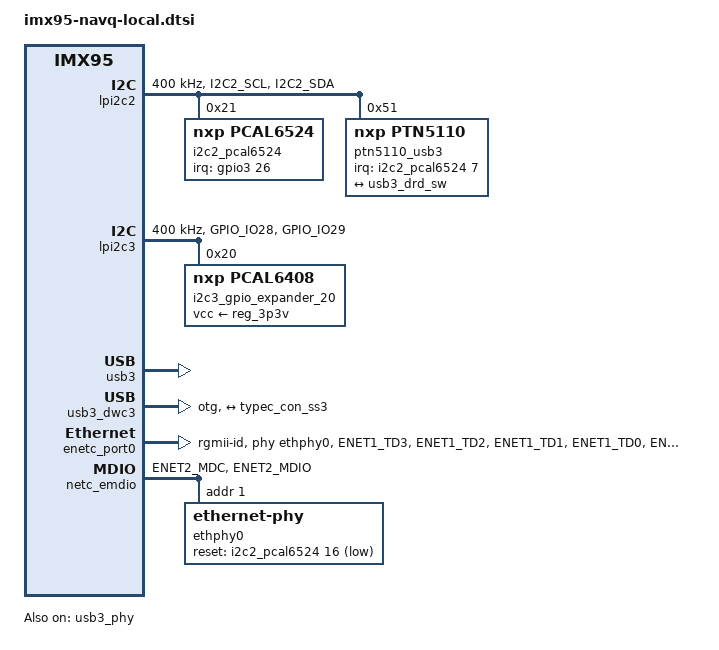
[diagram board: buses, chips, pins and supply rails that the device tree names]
// SPDX-License-Identifier: GPL-2.0+
/*
 * Copyright 2025 NXP
 */

#include <dt-bindings/usb/pd.h>

/ {
	aliases {
		ethernet0 = &enetc_port0;
		spi0 = &flexspi1;
	};

	chosen {
		bootargs = "console=ttyLP0,115200 earlycon";
	};
};

&lpi2c2 {
	#address-cells = <1>;
	#size-cells = <0>;
	clock-frequency = <400000>;
	pinctrl-names = "default", "sleep";
	pinctrl-0 = <&pinctrl_lpi2c2>;
	pinctrl-1 = <&pinctrl_lpi2c2>;
	status = "okay";

	i2c2_pcal6524: i2c2-gpio@21 {
		compatible = "nxp,pcal6524";
		reg = <0x21>;
		gpio-controller;
		#gpio-cells = <2>;
		pinctrl-names = "default";
		pinctrl-0 = <&pinctrl_i2c2_ioexp21>;
		interrupt-controller;
		#interrupt-cells = <2>;
		interrupt-parent = <&gpio3>;
		interrupts = <26 IRQ_TYPE_EDGE_FALLING>;
	};

	ptn5110_usb3: tcpc@51 {
		compatible = "nxp,ptn5110";
		reg = <0x51>;
		interrupt-parent = <&i2c2_pcal6524>;
		interrupts = <7 IRQ_TYPE_LEVEL_LOW>;

		port {
			typec_con_ss3: endpoint {
				remote-endpoint = <&usb3_drd_sw>;
			};
		};

		typec_con3: connector {
			compatible = "usb-c-connector";
			label = "USB-C";
			power-role = "dual";
			data-role = "dual";
			try-power-role = "sink";
			source-pdos = <PDO_FIXED(5000, 3000, PDO_FIXED_USB_COMM)>;
			sink-pdos = <PDO_FIXED(5000, 3000, PDO_FIXED_USB_COMM)
				     PDO_VAR(5000, 20000, 3000)>;
			op-sink-microwatt = <15000000>;
			self-powered;
		};
	};
};

&lpi2c3 {
	#address-cells = <1>;
	#size-cells = <0>;
	clock-frequency = <400000>;
	pinctrl-names = "default", "sleep";
	pinctrl-0 = <&pinctrl_lpi2c3>;
	pinctrl-1 = <&pinctrl_lpi2c3>;
	status = "okay";

	i2c3_gpio_expander_20: i2c3-gpio-expander@20 {
		compatible = "nxp,pcal6408";
		#gpio-cells = <2>;
		gpio-controller;
		reg = <0x20>;
		vcc-supply = <&reg_3p3v>;
	};
};

&usb3 {
	status = "okay";
};

&usb3_phy {
	status = "okay";
};

&usb3_dwc3 {
	dr_mode = "otg";
	hnp-disable;
	srp-disable;
	adp-disable;
	usb-role-switch;
	role-switch-default-mode = "none";
	snps,dis-u1-entry-quirk;
	snps,dis-u2-entry-quirk;
	status = "okay";

	port {
		usb3_drd_sw: endpoint {
			remote-endpoint = <&typec_con_ss3>;
		};
	};
};

&enetc_port0 {
	pinctrl-names = "default";
	pinctrl-0 = <&pinctrl_enetc0>;
	phy-handle = <&ethphy0>;
	phy-mode = "rgmii-id";
	status = "okay";
};

&netc_emdio {
	pinctrl-names = "default";
	pinctrl-0 = <&pinctrl_emdio>;
	status = "okay";

	ethphy0: ethernet-phy@1 {
		reg = <1>;
		eee-broken-1000t;
		reset-gpios = <&i2c2_pcal6524 16 GPIO_ACTIVE_LOW>;
		reset-assert-us = <10000>;
		reset-deassert-us = <80000>;
	};
};

&scmi_iomuxc {
	pinctrl_lpi2c2: lpi2c2grp {
		fsl,pins = <
			IMX95_PAD_I2C2_SCL__AONMIX_TOP_LPI2C2_SCL	0x40000b9e
			IMX95_PAD_I2C2_SDA__AONMIX_TOP_LPI2C2_SDA	0x40000b9e
		>;
	};

	pinctrl_lpi2c3: lpi2c3grp {
		fsl,pins = <
			IMX95_PAD_GPIO_IO28__LPI2C3_SDA			0x40000b9e
			IMX95_PAD_GPIO_IO29__LPI2C3_SCL			0x40000b9e
		>;
	};
	
	pinctrl_i2c2_ioexp21: i2c2ioexp21 {
		fsl,pins = <
			IMX95_PAD_CCM_CLKO1__GPIO3_IO_BIT26			0x31e
		>;
	};

	pinctrl_emdio: emdiogrp{
		fsl,pins = <
			IMX95_PAD_ENET2_MDC__NETCMIX_TOP_NETC_MDC		0x57e
			IMX95_PAD_ENET2_MDIO__NETCMIX_TOP_NETC_MDIO		0x97e
		>;
	};

	pinctrl_enetc0: enetc0grp {
		fsl,pins = <
			IMX95_PAD_ENET1_TD3__NETCMIX_TOP_ETH0_RGMII_TD3		0x57e
			IMX95_PAD_ENET1_TD2__NETCMIX_TOP_ETH0_RGMII_TD2		0x57e
			IMX95_PAD_ENET1_TD1__NETCMIX_TOP_ETH0_RGMII_TD1		0x57e
			IMX95_PAD_ENET1_TD0__NETCMIX_TOP_ETH0_RGMII_TD0		0x57e
			IMX95_PAD_ENET1_TX_CTL__NETCMIX_TOP_ETH0_RGMII_TX_CTL	0x57e
			IMX95_PAD_ENET1_TXC__NETCMIX_TOP_ETH0_RGMII_TX_CLK	0x5fe
			IMX95_PAD_ENET1_RX_CTL__NETCMIX_TOP_ETH0_RGMII_RX_CTL	0x57e
			IMX95_PAD_ENET1_RXC__NETCMIX_TOP_ETH0_RGMII_RX_CLK	0x5fe
			IMX95_PAD_ENET1_RD0__NETCMIX_TOP_ETH0_RGMII_RD0		0x57e
			IMX95_PAD_ENET1_RD1__NETCMIX_TOP_ETH0_RGMII_RD1		0x57e
			IMX95_PAD_ENET1_RD2__NETCMIX_TOP_ETH0_RGMII_RD2		0x57e
			IMX95_PAD_ENET1_RD3__NETCMIX_TOP_ETH0_RGMII_RD3		0x57e
		>;
	};

	pinctrl_enetc1: enetc1grp {
		fsl,pins = <
			IMX95_PAD_ENET2_TD3__NETCMIX_TOP_ETH1_RGMII_TD3		0x57e
			IMX95_PAD_ENET2_TD2__NETCMIX_TOP_ETH1_RGMII_TD2		0x57e
			IMX95_PAD_ENET2_TD1__NETCMIX_TOP_ETH1_RGMII_TD1		0x57e
			IMX95_PAD_ENET2_TD0__NETCMIX_TOP_ETH1_RGMII_TD0		0x57e
			IMX95_PAD_ENET2_TX_CTL__NETCMIX_TOP_ETH1_RGMII_TX_CTL	0x57e
			IMX95_PAD_ENET2_TXC__NETCMIX_TOP_ETH1_RGMII_TX_CLK	0x5fe
			IMX95_PAD_ENET2_RX_CTL__NETCMIX_TOP_ETH1_RGMII_RX_CTL	0x57e
			IMX95_PAD_ENET2_RXC__NETCMIX_TOP_ETH1_RGMII_RX_CLK	0x5fe
			IMX95_PAD_ENET2_RD0__NETCMIX_TOP_ETH1_RGMII_RD0		0x57e
			IMX95_PAD_ENET2_RD1__NETCMIX_TOP_ETH1_RGMII_RD1		0x57e
			IMX95_PAD_ENET2_RD2__NETCMIX_TOP_ETH1_RGMII_RD2		0x57e
			IMX95_PAD_ENET2_RD3__NETCMIX_TOP_ETH1_RGMII_RD3		0x57e
		>;
	};
};
